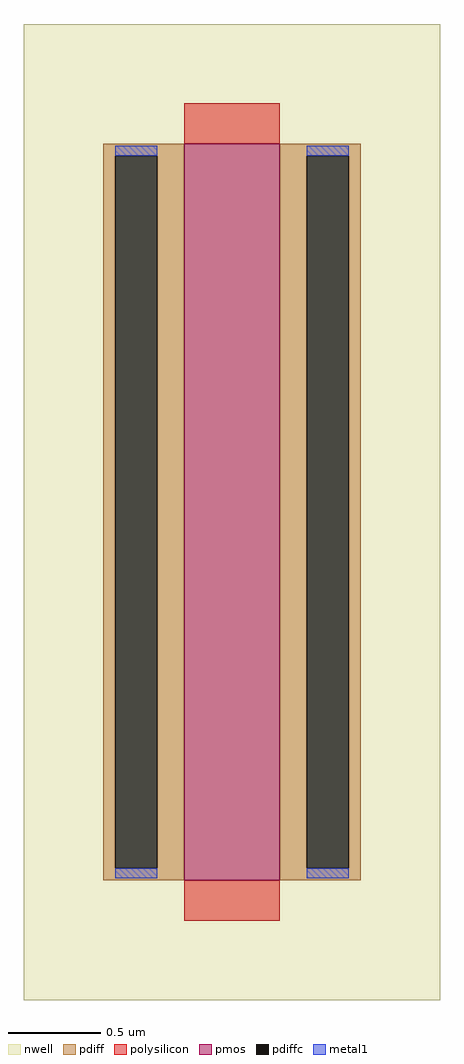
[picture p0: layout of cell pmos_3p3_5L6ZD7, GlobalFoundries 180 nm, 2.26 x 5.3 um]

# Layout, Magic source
magic
tech gf180mcuC
magscale 1 10
<< nwell >>
rect -226 -530 226 530
<< pmos >>
rect -52 -400 52 400
<< pdiff >>
rect -140 387 -52 400
rect -140 -387 -127 387
rect -81 -387 -52 387
rect -140 -400 -52 -387
rect 52 387 140 400
rect 52 -387 81 387
rect 127 -387 140 387
rect 52 -400 140 -387
<< pdiffc >>
rect -127 -387 -81 387
rect 81 -387 127 387
<< polysilicon >>
rect -52 400 52 444
rect -52 -444 52 -400
<< metal1 >>
rect -127 387 -81 398
rect -127 -398 -81 -387
rect 81 387 127 398
rect 81 -398 127 -387
<< properties >>
string gencell pmos_3p3
string library gf180mcu
string parameters w 4 l 0.52 m 1 nf 1 diffcov 100 polycov 100 guard 0 glc 0 grc 0 gtc 0 gbc 0 tbcov 100 rlcov 100 topc 0 botc 0 poverlap 0 doverlap 1 lmin 0.28 wmin 0.22 full_metal 0 compatible {pmos_3p3 pmos_6p0}
<< end >>
